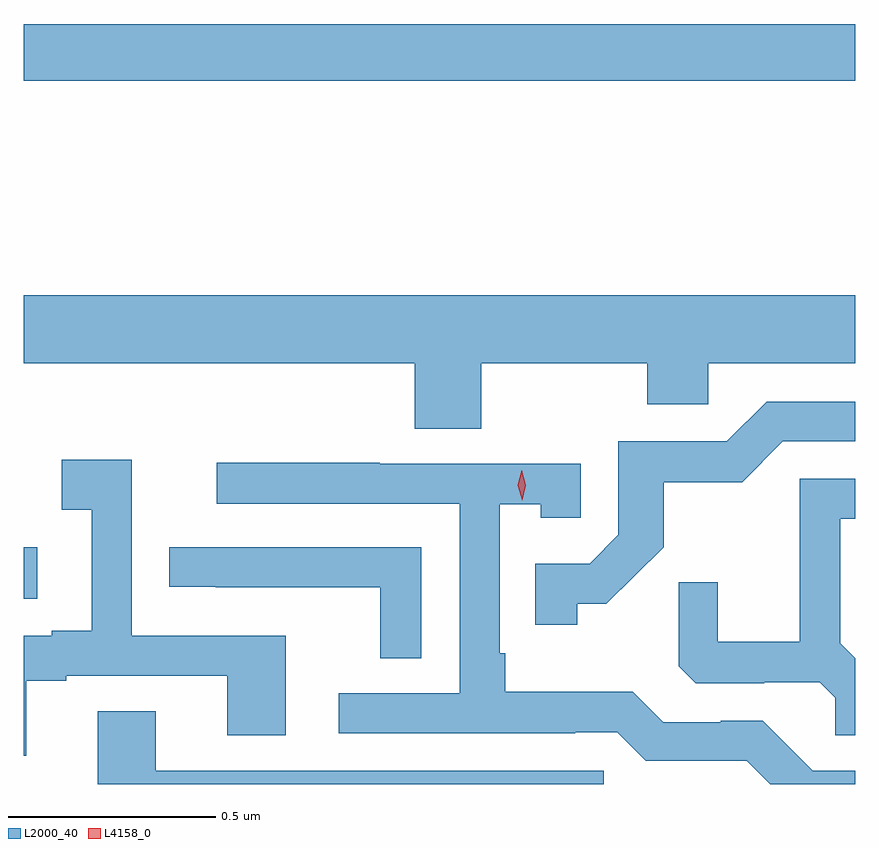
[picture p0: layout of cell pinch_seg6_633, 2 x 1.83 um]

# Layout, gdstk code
import gdstk
lib = gdstk.Library(unit=1e-6, precision=1e-09)
def R(c, l, rs):  # rectangles x0, y0, x1, y1
    for r in rs: c.add(gdstk.rectangle(r[:2], r[2:], *l))
def P(c, l, *ps):  # polygons
    for p in ps: c.add(gdstk.Polygon(p, *l))
L2000_40 = (2000, 40)
L4158_0 = (4158, 0)

pinch_seg6_633 = lib.new_cell('pinch_seg6_633')
R(pinch_seg6_633, L2000_40, [(437.365,965.417,437.398,965.541), (437.365,966.664,439.365,966.8)])
P(pinch_seg6_633, L2000_40, [(438.465,965.984),(438.865,965.984),(438.865,965.886),(439.011,965.886),(439.011,965.984),(439.365,965.984),(439.365,966.148),(437.365,966.148),(437.365,965.984),(438.305,965.984),(438.305,965.827),(438.465,965.827)],
  [(438.696,965.405),(438.766,965.405),(438.904,965.542),(438.904,965.698),(439.093,965.698),(439.191,965.796),(439.365,965.796),(439.365,965.892),(439.152,965.892),(439.056,965.796),(438.795,965.796),(438.795,965.571),(438.726,965.502),(438.595,965.502),(438.595,965.355),(438.696,965.355)],
  [(437.371,965.22),(437.467,965.22),(437.467,965.232),(437.855,965.232),(437.855,965.089),(437.995,965.089),(437.995,965.328),(437.625,965.328),(437.625,965.752),(437.457,965.752),(437.457,965.632),(437.528,965.632),(437.528,965.341),(437.432,965.341),(437.432,965.328),(437.365,965.328),(437.365,965.04),(437.371,965.04)],
  [(439.365,965.004),(439.263,965.004),(439.143,965.124),(439.042,965.124),(439.042,965.121),(438.903,965.121),(438.83,965.194),(438.523,965.194),(438.523,965.287),(438.51,965.287),(438.51,965.645),(438.609,965.645),(438.609,965.613),(438.705,965.613),(438.705,965.742),(438.221,965.742),(438.221,965.745),(437.829,965.745),(437.829,965.646),(438.414,965.646),(438.414,965.19),(438.123,965.19),(438.123,965.094),(438.692,965.094),(438.692,965.097),(438.792,965.097),(438.861,965.028),(439.104,965.028),(439.16,964.972),(439.365,964.972)],
  [(439.365,965.275),(439.329,965.311),(439.329,965.61),(439.365,965.61),(439.365,965.706),(439.232,965.706),(439.232,965.314),(439.034,965.314),(439.034,965.457),(438.94,965.457),(438.94,965.255),(438.981,965.214),(439.146,965.214),(439.146,965.217),(439.28,965.217),(439.317,965.18),(439.317,965.089),(439.365,965.089)],
  [(438.321,965.541),(437.715,965.541),(437.715,965.446),(437.827,965.446),(437.827,965.445),(438.223,965.445),(438.223,965.275),(438.321,965.275)],
  [(438.76,965.004),(437.683,965.004),(437.683,965.147),(437.543,965.147),(437.543,964.972),(438.76,964.972)])
P(pinch_seg6_633, L4158_0, [(438.564,965.655),(438.564,965.655),(438.553,965.691),(438.563,965.727),(438.563,965.727),(438.563,965.727),(438.573,965.691),(438.564,965.655)])

lib.write_gds('pinch_seg6_633.gds')
